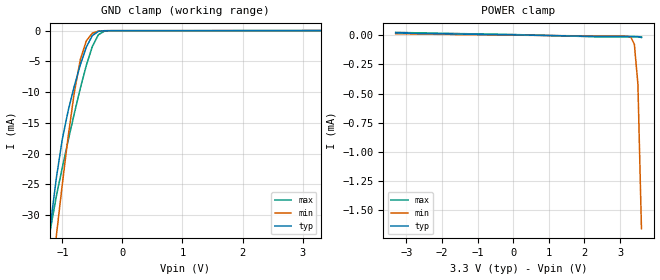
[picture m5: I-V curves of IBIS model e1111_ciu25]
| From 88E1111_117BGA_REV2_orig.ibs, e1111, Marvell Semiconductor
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|   Model e1111_ciu25
[Model]   e1111_ciu25
Model_type   Input
Polarity   Non-Inverting
Vinl =   1.2100V
Vinh =   1.3700V
|Vmeas =   1.3000V
|Cref =  15.0000pF
|Vref =  0.000V
C_comp   1.1400pF   0.9700pF   1.3100pF
[Temperature Range]   25.0000   0.1250k   0.000
[Pullup Reference]   2.5000V   2.3000V   2.7000V
[Pulldown Reference]   0.000V   0.000V   0.000V
[POWER Clamp Reference]   3.3000V   3.0000V   3.6000V
[GND Clamp Reference]   0.000V   0.000V   0.000V
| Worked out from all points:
|   GND clamp passes 1 mA (typ) near -0.51 V on its own axis
[GND_clamp]
| voltage   I(typ)   I(min)   I(max)
-3.3V     -230.1mA   -242.1mA   -226.9mA
-1.3V     -40.24mA   -51.22mA   -39.41mA
-1.2V     -31.77mA   -42.22mA   -32.44mA
-1.1V     -24.02mA   -33.44mA   -26.96mA
-900mV    -12.92mA   -17.05mA   -17.78mA
-800mV    -9.018mA   -10.05mA   -13.46mA
-700mV    -5.557mA   -4.709mA   -9.372mA
-600mV    -2.684mA   -1.661mA   -5.646mA
-500mV    -807.1uA   -415.6uA   -2.576mA
-400mV    -125.7uA   -74.91uA   -677.1uA
-200mV    -9.833uA   -6.718uA   -17.61uA
3.3V      4.686uA    3.126uA    6.161uA
[POWER_clamp]
| voltage   I(typ)   I(min)   I(max)
-3.3V     20.45uA    14.95uA    25.8uA
3.1V      -9.346uA   -5.883uA   -13.19uA
3.3V      -9.356uA   -14.68uA   -13.21uA
3.4V      -9.377uA   -74.91uA   -13.22uA
3.5V      -9.833uA   -415.6uA   -13.23uA
3.6V      -18.6uA    -1.661mA   -13.24uA
